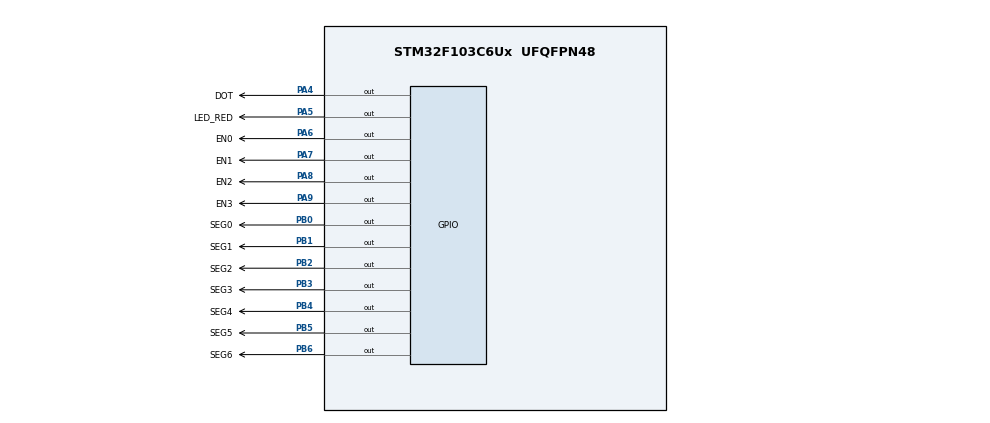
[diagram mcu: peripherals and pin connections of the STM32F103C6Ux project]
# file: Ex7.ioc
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Mcu.Family=STM32F1
Mcu.Name=STM32F103C6Ux
Mcu.Package=UFQFPN48
NVIC.PriorityGroup=NVIC_PRIORITYGROUP_4
NVIC.TIM2_IRQn=true\:0\:0\:false\:false\:true\:true\:true
PA4.GPIO_Label=DOT
PA4.Signal=GPIO_Output
PA5.GPIO_Label=LED_RED
PA5.Signal=GPIO_Output
PA6.GPIO_Label=EN0
PA6.Signal=GPIO_Output
PA7.GPIO_Label=EN1
PA7.Signal=GPIO_Output
PA8.GPIO_Label=EN2
PA8.Signal=GPIO_Output
PA9.GPIO_Label=EN3
PA9.Signal=GPIO_Output
PB0.GPIO_Label=SEG0
PB0.Signal=GPIO_Output
PB1.GPIO_Label=SEG1
PB1.Signal=GPIO_Output
PB2.GPIO_Label=SEG2
PB2.Signal=GPIO_Output
PB3.GPIO_Label=SEG3
PB3.Signal=GPIO_Output
PB4.GPIO_Label=SEG4
PB4.Signal=GPIO_Output
PB5.GPIO_Label=SEG5
PB5.Signal=GPIO_Output
PB6.GPIO_Label=SEG6
PB6.Signal=GPIO_Output
ProjectManager.HeapSize=0x200
ProjectManager.StackSize=0x400
ProjectManager.TargetToolchain=STM32CubeIDE
RCC.APB1Freq_Value=8000000
RCC.APB2Freq_Value=8000000
TIM2.Period=9
TIM2.Prescaler=7999
VP_SYS_VS_ND.Mode=No_Debug
VP_TIM2_VS_ClockSourceINT.Mode=Internal
board=custom

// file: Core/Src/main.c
/* USER CODE BEGIN Header */
/**
  ******************************************************************************
  * @file           : main.c
  * @brief          : Main program body
  ******************************************************************************
  * @attention
  *
  * <h2><center>&copy; Copyright (c) 2022 STMicroelectronics.
  * All rights reserved.</center></h2>
  *
  * This software component is licensed by ST under BSD 3-Clause license,
  * the "License"; You may not use this file except in compliance with the
  * License. You may obtain a copy of the License at:
  *                        opensource.org/licenses/BSD-3-Clause
  *
  ******************************************************************************
  */
/* USER CODE END Header */
#include "main.h"

/* USER CODE BEGIN Includes */
#include "HARDWARECONTROL.h"
#include "LED.h"
#include "SOFTWARETIMER.h"
/* USER CODE END Includes */

TIM_HandleTypeDef htim2;

void SystemClock_Config(void);
static void MX_GPIO_Init(void);
static void MX_TIM2_Init(void);

int main(void)
{

  /* MCU Configuration--------------------------------------------------------*/

  /* Reset of all peripherals, Initializes the Flash interface and the Systick. */
  HAL_Init();

  /* Configure the system clock */
  SystemClock_Config();

  /* Initialize all configured peripherals */
  MX_GPIO_Init();
  MX_TIM2_Init();
  /* USER CODE BEGIN 2 */
  HAL_TIM_Base_Start_IT(&htim2);
  initGPIO();
  int clock_time = 1000; //set clock to 1s
  setTimer(clock_time);
  updateClockBuffer();
  /* USER CODE END 2 */

  /* Infinite loop */
  while (1)
  {
		if(clock_flag == 1)
		{
			second++;
			if(second >= 60)
			{
			  second = 0;
			  minute++;
			}
			if(minute >= 60)
			{
			  minute = 0;
			  hour++;
			}
			if(hour >= 24)
			{
			  hour = 0;
			}
			updateClockBuffer();
			setTimer(clock_time);
		}
  }
}

void SystemClock_Config(void)
{
  RCC_OscInitTypeDef RCC_OscInitStruct = {0};
  RCC_ClkInitTypeDef RCC_ClkInitStruct = {0};

  /** Initializes the RCC Oscillators according to the specified parameters
  * in the RCC_OscInitTypeDef structure.
  */
  RCC_OscInitStruct.OscillatorType = RCC_OSCILLATORTYPE_HSI;
  RCC_OscInitStruct.HSIState = RCC_HSI_ON;
  RCC_OscInitStruct.HSICalibrationValue = RCC_HSICALIBRATION_DEFAULT;
  RCC_OscInitStruct.PLL.PLLState = RCC_PLL_NONE;
  if (HAL_RCC_OscConfig(&RCC_OscInitStruct) != HAL_OK)
  {
    Error_Handler();
  }
  /** Initializes the CPU, AHB and APB buses clocks
  */
  RCC_ClkInitStruct.ClockType = RCC_CLOCKTYPE_HCLK|RCC_CLOCKTYPE_SYSCLK
                              |RCC_CLOCKTYPE_PCLK1|RCC_CLOCKTYPE_PCLK2;
  RCC_ClkInitStruct.SYSCLKSource = RCC_SYSCLKSOURCE_HSI;
  RCC_ClkInitStruct.AHBCLKDivider = RCC_SYSCLK_DIV1;
  RCC_ClkInitStruct.APB1CLKDivider = RCC_HCLK_DIV1;
  RCC_ClkInitStruct.APB2CLKDivider = RCC_HCLK_DIV1;

  if (HAL_RCC_ClockConfig(&RCC_ClkInitStruct, FLASH_LATENCY_0) != HAL_OK)
  {
    Error_Handler();
  }
}

static void MX_TIM2_Init(void)
{

  TIM_ClockConfigTypeDef sClockSourceConfig = {0};
  TIM_MasterConfigTypeDef sMasterConfig = {0};

  htim2.Instance = TIM2;
  htim2.Init.Prescaler = 7999;
  htim2.Init.CounterMode = TIM_COUNTERMODE_UP;
  htim2.Init.Period = 9;
  htim2.Init.ClockDivision = TIM_CLOCKDIVISION_DIV1;
  htim2.Init.AutoReloadPreload = TIM_AUTORELOAD_PRELOAD_DISABLE;
  if (HAL_TIM_Base_Init(&htim2) != HAL_OK)
  {
    Error_Handler();
  }
  sClockSourceConfig.ClockSource = TIM_CLOCKSOURCE_INTERNAL;
  if (HAL_TIM_ConfigClockSource(&htim2, &sClockSourceConfig) != HAL_OK)
  {
    Error_Handler();
  }
  sMasterConfig.MasterOutputTrigger = TIM_TRGO_RESET;
  sMasterConfig.MasterSlaveMode = TIM_MASTERSLAVEMODE_DISABLE;
  if (HAL_TIMEx_MasterConfigSynchronization(&htim2, &sMasterConfig) != HAL_OK)
  {
    Error_Handler();
  }

}

static void MX_GPIO_Init(void)
{
  GPIO_InitTypeDef GPIO_InitStruct = {0};

  /* GPIO Ports Clock Enable */
  __HAL_RCC_GPIOA_CLK_ENABLE();
  __HAL_RCC_GPIOB_CLK_ENABLE();

  /*Configure GPIO pin Output Level */
  HAL_GPIO_WritePin(GPIOA, DOT_Pin|LED_RED_Pin|EN0_Pin|EN1_Pin
                          |EN2_Pin|EN3_Pin, GPIO_PIN_RESET);

  /*Configure GPIO pin Output Level */
  HAL_GPIO_WritePin(GPIOB, SEG0_Pin|SEG1_Pin|SEG2_Pin|SEG3_Pin
                          |SEG4_Pin|SEG5_Pin|SEG6_Pin, GPIO_PIN_RESET);

  /*Configure GPIO pins : DOT_Pin LED_RED_Pin EN0_Pin EN1_Pin
                           EN2_Pin EN3_Pin */
  GPIO_InitStruct.Pin = DOT_Pin|LED_RED_Pin|EN0_Pin|EN1_Pin
                          |EN2_Pin|EN3_Pin;
  GPIO_InitStruct.Mode = GPIO_MODE_OUTPUT_PP;
  GPIO_InitStruct.Pull = GPIO_NOPULL;
  GPIO_InitStruct.Speed = GPIO_SPEED_FREQ_LOW;
  HAL_GPIO_Init(GPIOA, &GPIO_InitStruct);

  /*Configure GPIO pins : SEG0_Pin SEG1_Pin SEG2_Pin SEG3_Pin
                           SEG4_Pin SEG5_Pin SEG6_Pin */
  GPIO_InitStruct.Pin = SEG0_Pin|SEG1_Pin|SEG2_Pin|SEG3_Pin
                          |SEG4_Pin|SEG5_Pin|SEG6_Pin;
  GPIO_InitStruct.Mode = GPIO_MODE_OUTPUT_PP;
  GPIO_InitStruct.Pull = GPIO_NOPULL;
  GPIO_InitStruct.Speed = GPIO_SPEED_FREQ_LOW;
  HAL_GPIO_Init(GPIOB, &GPIO_InitStruct);

}

/* USER CODE BEGIN 4 */
int counter = 25;
int led_counter = 100;
void HAL_TIM_PeriodElapsedCallback(TIM_HandleTypeDef *htim){
  timerRun();
  if(counter > 0)
  {
    counter--;
    if(counter <= 0)
    {
    	update7SEG(index_led);
    	index_led++;
    	if(index_led > 3) index_led = 0;
    	counter = 25;
    }
  }
  if(led_counter > 0)
  {
    led_counter--;
    if(led_counter <= 0)
    {
      led_counter = 100;
      blinkLED();
    }
  }
}
/* USER CODE END 4 */

void Error_Handler(void)
{
  __disable_irq();
  while (1)
  {
  }
}

/************************ (C) COPYRIGHT STMicroelectronics *****END OF FILE****/
